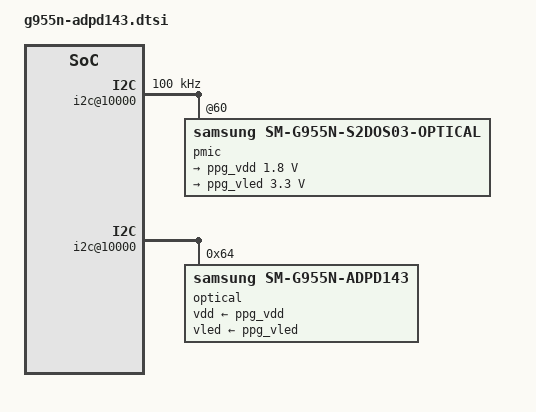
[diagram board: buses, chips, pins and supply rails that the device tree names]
// SPDX-License-Identifier: GPL-2.0-only

#include <dt-bindings/interrupt-controller/irq.h>
#include <dt-bindings/soc/samsung,exynos-usi.h>

&{/soc@0/usi@10860000} {
	samsung,mode = <USI_MODE_I2C1>;
	status = "okay";
};

&{/soc@0/usi@10860000/i2c@10000} {
	clock-frequency = <100000>;
	status = "okay";

	pmic@60 {
		compatible = "samsung,sm-g955n-s2dos03-optical";
		status = "okay";

		regulators {
			ppg_vdd: ldo2 {
				regulator-name = "adpd143-vdd";
				regulator-min-microvolt = <1800000>;
				regulator-max-microvolt = <1800000>;
			};

			ppg_vled: ldo4 {
				regulator-name = "adpd143-vled";
				regulator-min-microvolt = <3300000>;
				regulator-max-microvolt = <3300000>;
			};
		};
	};
};

&{/soc@0/usi@10900000/i2c@10000} {
	optical@64 {
		compatible = "samsung,sm-g955n-adpd143";
		reg = <0x64>;
		interrupt-parent = <&{/soc@0/pinctrl@10980000/gpe6-gpio-bank}>;
		interrupts = <6 IRQ_TYPE_EDGE_FALLING>;
		vdd-supply = <&ppg_vdd>;
		vled-supply = <&ppg_vled>;
	};
};
